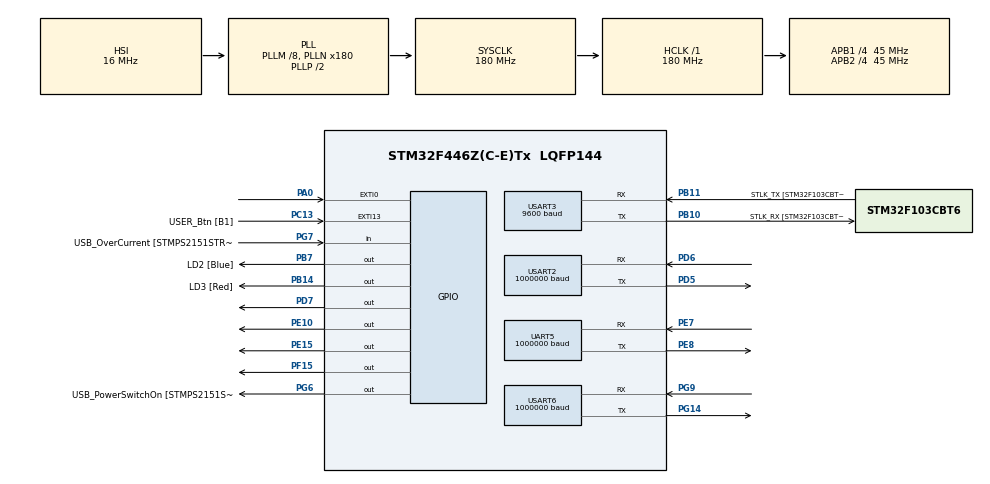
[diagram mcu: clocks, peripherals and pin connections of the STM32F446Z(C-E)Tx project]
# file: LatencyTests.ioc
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Mcu.Family=STM32F4
Mcu.Name=STM32F446Z(C-E)Tx
Mcu.Package=LQFP144
NVIC.PriorityGroup=NVIC_PRIORITYGROUP_4
NVIC.TIM1_UP_TIM10_IRQn=true\:0\:0\:false\:false\:true
NVIC.UART5_IRQn=true\:0\:0\:false\:false\:true
NVIC.USART2_IRQn=true\:0\:0\:false\:true\:true\:1
NVIC.USART3_IRQn=true\:0\:0\:false\:false\:true
NVIC.USART6_IRQn=true\:0\:0\:false\:true\:true\:2
PA0-WKUP.Signal=GPXTI0
PA10.GPIO_Label=USB_ID
PA10.Signal=USB_OTG_FS_ID
PA11.GPIO_Label=USB_DM
PA11.Signal=USB_OTG_FS_DM
PA12.GPIO_Label=USB_DP
PA12.Signal=USB_OTG_FS_DP
PA13.GPIO_Label=TMS
PA13.Signal=SYS_JTMS-SWDIO
PA14.GPIO_Label=TCK
PA14.Signal=SYS_JTCK-SWCLK
PA8.GPIO_Label=USB_SOF [TP1]
PA8.Signal=USB_OTG_FS_SOF
PA9.GPIO_Label=USB_VBUS
PA9.Signal=USB_OTG_FS_VBUS
PB10.GPIO_Label=STLK_RX [STM32F103CBT6_PA3]
PB10.Mode=Asynchronous
PB10.Signal=USART3_TX
PB11.GPIO_Label=STLK_TX [STM32F103CBT6_PA2]
PB11.Mode=Asynchronous
PB11.Signal=USART3_RX
PB14.GPIO_Label=LD3 [Red]
PB14.Signal=GPIO_Output
PB7.GPIO_Label=LD2 [Blue]
PB7.Signal=GPIO_Output
PC13.GPIO_Label=USER_Btn [B1]
PC13.Signal=GPXTI13
PC14-OSC32_IN.Signal=RCC_OSC32_IN
PC15-OSC32_OUT.Signal=RCC_OSC32_OUT
PD5.Mode=Asynchronous
PD5.Signal=USART2_TX
PD6.Mode=Asynchronous
PD6.Signal=USART2_RX
PD7.GPIO_Speed=GPIO_SPEED_FREQ_VERY_HIGH
PD7.PinState=GPIO_PIN_SET
PD7.Signal=GPIO_Output
PE10.GPIO_Speed=GPIO_SPEED_FREQ_VERY_HIGH
PE10.PinState=GPIO_PIN_SET
PE10.Signal=GPIO_Output
PE15.GPIO_Speed=GPIO_SPEED_FREQ_VERY_HIGH
PE15.PinState=GPIO_PIN_SET
PE15.Signal=GPIO_Output
PE7.Mode=Asynchronous
PE7.Signal=UART5_RX
PE8.Mode=Asynchronous
PE8.Signal=UART5_TX
PF15.GPIO_Speed=GPIO_SPEED_FREQ_VERY_HIGH
PF15.PinState=GPIO_PIN_SET
PF15.Signal=GPIO_Output
PG14.Mode=Asynchronous
PG14.Signal=USART6_TX
PG6.GPIO_Label=USB_PowerSwitchOn [STMPS2151STR_EN]
PG6.Signal=GPIO_Output
PG7.GPIO_Label=USB_OverCurrent [STMPS2151STR_FAULT]
PG7.Signal=GPIO_Input
PG9.Mode=Asynchronous
PG9.Signal=USART6_RX
PH0-OSC_IN.GPIO_Label=MCO [STM32F103CBT6_PA8]
PH0-OSC_IN.Signal=RCC_OSC_IN
PH1-OSC_OUT.Signal=RCC_OSC_OUT
ProjectManager.HeapSize=0x200
ProjectManager.StackSize=0x400
ProjectManager.TargetToolchain=SW4STM32
RCC.48MHZClocksFreq_Value=24000000
RCC.AHBFreq_Value=180000000
RCC.APB1CLKDivider=RCC_HCLK_DIV4
RCC.APB1Freq_Value=45000000
RCC.APB1TimFreq_Value=90000000
RCC.APB2CLKDivider=RCC_HCLK_DIV4
RCC.APB2Freq_Value=45000000
RCC.APB2TimFreq_Value=90000000
RCC.CortexFreq_Value=180000000
RCC.HCLKFreq_Value=180000000
RCC.HSE_VALUE=8000000
RCC.HSI_VALUE=16000000
RCC.LSE_VALUE=32768
RCC.PLLM=8
RCC.PLLMUL=RCC_PLL_MUL9
RCC.PLLN=180
RCC.PRESCALERUSB=RCC_USBCLKSOURCE_PLL_DIV1_5
RCC.SYSCLKFreq_VALUE=180000000
RCC.SYSCLKSource=RCC_SYSCLKSOURCE_PLLCLK
RCC.SYSCLKSourceVirtual=RCC_SYSCLKSOURCE_PLLCLK
RCC.USBFreq_Value=180000000
RCC.VCOOutputFreq_Value=360000000
TIM10.Period=9999
TIM10.Prescaler=90
UART5.BaudRate=1000000
UART5.VirtualMode=Asynchronous
USART2.BaudRate=1000000
USART2.VirtualMode=VM_ASYNC
USART3.BaudRate=9600
USART3.VirtualMode=VM_ASYNC
USART6.BaudRate=1000000
USART6.VirtualMode=VM_ASYNC
VP_TIM10_VS_ClockSourceINT.Mode=Enable_Timer
board=NUCLEO-F446ZE

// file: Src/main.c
/**
  ******************************************************************************
  * File Name          : main.c
  * Description        : Main program body
  ******************************************************************************
  ** This notice applies to any and all portions of this file
  * that are not between comment pairs USER CODE BEGIN and
  * USER CODE END. Other portions of this file, whether
  * inserted by the user or by software development tools
  * are owned by their respective copyright owners.
  *
  * COPYRIGHT(c) 2017 STMicroelectronics
  *
  * Redistribution and use in source and binary forms, with or without modification,
  * are permitted provided that the following conditions are met:
  *   1. Redistributions of source code must retain the above copyright notice,
  *      this list of conditions and the following disclaimer.
  *   2. Redistributions in binary form must reproduce the above copyright notice,
  *      this list of conditions and the following disclaimer in the documentation
  *      and/or other materials provided with the distribution.
  *   3. Neither the name of STMicroelectronics nor the names of its contributors
  *      may be used to endorse or promote products derived from this software
  *      without specific prior written permission.
  *
  * THIS SOFTWARE IS PROVIDED BY THE COPYRIGHT HOLDERS AND CONTRIBUTORS "AS IS"
  * AND ANY EXPRESS OR IMPLIED WARRANTIES, INCLUDING, BUT NOT LIMITED TO, THE
  * IMPLIED WARRANTIES OF MERCHANTABILITY AND FITNESS FOR A PARTICULAR PURPOSE ARE
  * DISCLAIMED. IN NO EVENT SHALL THE COPYRIGHT HOLDER OR CONTRIBUTORS BE LIABLE
  * FOR ANY DIRECT, INDIRECT, INCIDENTAL, SPECIAL, EXEMPLARY, OR CONSEQUENTIAL
  * DAMAGES (INCLUDING, BUT NOT LIMITED TO, PROCUREMENT OF SUBSTITUTE GOODS OR
  * SERVICES; LOSS OF USE, DATA, OR PROFITS; OR BUSINESS INTERRUPTION) HOWEVER
  * CAUSED AND ON ANY THEORY OF LIABILITY, WHETHER IN CONTRACT, STRICT LIABILITY,
  * OR TORT (INCLUDING NEGLIGENCE OR OTHERWISE) ARISING IN ANY WAY OUT OF THE USE
  * OF THIS SOFTWARE, EVEN IF ADVISED OF THE POSSIBILITY OF SUCH DAMAGE.
  *
  ******************************************************************************
  */
#include "main.h"
#include "stm32f4xx_hal.h"

/* USER CODE BEGIN Includes */
/* Motor driver. */
#include "../../../Dynamixel_AX-12A_Driver/src/Dynamixel_AX-12A.h"
#include "../../../Dynamixel_AX-12A_Driver/src/Dynamixel_AX-12A.c"

/* Simulink. */
#include <stddef.h>
#include <stdio.h>                     			/* This ert_main.c example uses printf/fflush */
#include "simplepid_ert_rtw/simplepid.h"        /* Model's header file */
#include "simplepid_ert_rtw/rtwtypes.h"
/* USER CODE END Includes */

TIM_HandleTypeDef htim10;

UART_HandleTypeDef huart5;
UART_HandleTypeDef huart2;
UART_HandleTypeDef huart3;
UART_HandleTypeDef huart6;

/* USER CODE BEGIN PV */
/* Private variables ---------------------------------------------------------*/
uint8_t buffrec[7];

Dynamixel_HandleTypeDef Motor1;
Dynamixel_HandleTypeDef Motor2;
Dynamixel_HandleTypeDef Motor3;
Dynamixel_HandleTypeDef Motor4;
Dynamixel_HandleTypeDef Motor5;
Dynamixel_HandleTypeDef Motor6;
Dynamixel_HandleTypeDef Motor7;
Dynamixel_HandleTypeDef Motor8;
Dynamixel_HandleTypeDef Motor9;
Dynamixel_HandleTypeDef Motor10;
Dynamixel_HandleTypeDef Motor11;
Dynamixel_HandleTypeDef Motor12;

volatile double lastTorque;
volatile uint8_t firstEntry = 1;
/* USER CODE END PV */

void SystemClock_Config(void);
static void MX_GPIO_Init(void);
static void MX_USART3_UART_Init(void);
static void MX_USART2_UART_Init(void);
static void MX_USART6_UART_Init(void);
static void MX_UART5_Init(void);
static void MX_TIM10_Init(void);
static void MX_NVIC_Init(void);

/* USER CODE BEGIN PFP */
/* Private function prototypes -----------------------------------------------*/
void rt_OneStepWheelMode(void);
void rt_OneStepJointMode(void);
/* USER CODE END PFP */

int main(void)
{

  /* MCU Configuration----------------------------------------------------------*/

  /* Reset of all peripherals, Initializes the Flash interface and the Systick. */
  HAL_Init();

  /* Configure the system clock */
  SystemClock_Config();

  /* Initialize all configured peripherals */
  MX_GPIO_Init();
  MX_USART3_UART_Init();
  MX_USART2_UART_Init();
  MX_USART6_UART_Init();
  MX_UART5_Init();
  MX_TIM10_Init();

  /* Initialize interrupts */
  MX_NVIC_Init();

  /* USER CODE BEGIN 2 */
  	/* UART2 --> Motors: 1, 2, 3	|	Data Direction Pin: D7. */
	Dynamixel_Init(&Motor1, 1, &huart2, GPIOD, GPIO_PIN_7);
	Dynamixel_Init(&Motor2, 2, &huart2, GPIOD, GPIO_PIN_7);
	Dynamixel_Init(&Motor3, 3, &huart2, GPIOD, GPIO_PIN_7);

	/* UART3 --> Motors: 4, 5, 6	|	Data Direction Pin: E15. */
	Dynamixel_Init(&Motor4, 4, &huart3, GPIOE, GPIO_PIN_15);
	Dynamixel_Init(&Motor5, 5, &huart3, GPIOE, GPIO_PIN_15);
	Dynamixel_Init(&Motor6, 6, &huart3, GPIOE, GPIO_PIN_15);

	/* UART5 --> Motors: 7, 8, 9	|	Data Direction Pin: E10. */
	Dynamixel_Init(&Motor7, 7, &huart5, GPIOE, GPIO_PIN_10);
	Dynamixel_Init(&Motor8, 8, &huart5, GPIOE, GPIO_PIN_10);
	Dynamixel_Init(&Motor9, 9, &huart5, GPIOE, GPIO_PIN_10);

	/* UART6 --> Motors: 10, 11, 12	|	Data Direction Pin: F15. */
	Dynamixel_Init(&Motor10, 10, &huart6, GPIOF, GPIO_PIN_15);
	Dynamixel_Init(&Motor11, 11, &huart6, GPIOF, GPIO_PIN_15);
	Dynamixel_Init(&Motor12, 12, &huart6, GPIOF, GPIO_PIN_15);

	Dynamixel_HandleTypeDef* arrDynamixel[12];
	arrDynamixel[0] = &Motor1;
	arrDynamixel[1] = &Motor2;
	arrDynamixel[2] = &Motor3;
	arrDynamixel[3] = &Motor4;
	arrDynamixel[4] = &Motor5;
	arrDynamixel[5] = &Motor6;
	arrDynamixel[6] = &Motor7;
	arrDynamixel[7] = &Motor8;
	arrDynamixel[8] = &Motor9;
	arrDynamixel[9] = &Motor10;
	arrDynamixel[10] = &Motor11;
	arrDynamixel[11] = &Motor12;

	HAL_Delay(100); // Just in case

	//Dynamixel_EnterWheelMode(&Motor10, 100);
	Dynamixel_EnterJointMode(&Motor10);
	Dynamixel_SetGoalVelocity(&Motor10, MAX_VELOCITY);

	HAL_TIM_Base_Start_IT(&htim10); // Starts the Timer-based interrupt generation

	/* Initialize model */
	simplepid_initialize();
  /* USER CODE END 2 */

  /* Infinite loop */
  while (1)
  {

  /* USER CODE BEGIN 3 */
//	  uint8_t uartNumber = 2;
//	  uint8_t L = 2;
//	  uint8_t numMotors = 4;
//
//	  uint8_t arrSW[8];
//	  arrSW[0] = REG_GOAL_POSITION;
//	  arrSW[1] = L;
//	  arrSW[2] = 1; // MOTOR1
//	  arrSW[3] = 0;
//	  arrSW[4] = 2;
//	  arrSW[5] = 2; // MOTOR2
//	  arrSW[6] = 0;
//	  arrSW[7] = 2;
//	  arrSW[8] = 3; // MOTOR3
//	  arrSW[9] = 0;
//	  arrSW[10] = 2;
//	  arrSW[11] = 4; // MOTOR4
//	  arrSW[12] = 0;
//	  arrSW[13] = 2;
//
//	  Dynamixel_SyncWriter(&Motor1, uartNumber, numMotors, arrSW);
  }
  /* USER CODE END 3 */

}

/** System Clock Configuration
*/
void SystemClock_Config(void)
{

  RCC_OscInitTypeDef RCC_OscInitStruct;
  RCC_ClkInitTypeDef RCC_ClkInitStruct;

    /**Configure the main internal regulator output voltage
    */
  __HAL_RCC_PWR_CLK_ENABLE();

  __HAL_PWR_VOLTAGESCALING_CONFIG(PWR_REGULATOR_VOLTAGE_SCALE1);

    /**Initializes the CPU, AHB and APB busses clocks
    */
  RCC_OscInitStruct.OscillatorType = RCC_OSCILLATORTYPE_HSI;
  RCC_OscInitStruct.HSIState = RCC_HSI_ON;
  RCC_OscInitStruct.HSICalibrationValue = 16;
  RCC_OscInitStruct.PLL.PLLState = RCC_PLL_ON;
  RCC_OscInitStruct.PLL.PLLSource = RCC_PLLSOURCE_HSI;
  RCC_OscInitStruct.PLL.PLLM = 8;
  RCC_OscInitStruct.PLL.PLLN = 180;
  RCC_OscInitStruct.PLL.PLLP = RCC_PLLP_DIV2;
  RCC_OscInitStruct.PLL.PLLQ = 2;
  RCC_OscInitStruct.PLL.PLLR = 2;
  if (HAL_RCC_OscConfig(&RCC_OscInitStruct) != HAL_OK)
  {
    _Error_Handler(__FILE__, __LINE__);
  }

    /**Activate the Over-Drive mode
    */
  if (HAL_PWREx_EnableOverDrive() != HAL_OK)
  {
    _Error_Handler(__FILE__, __LINE__);
  }

    /**Initializes the CPU, AHB and APB busses clocks
    */
  RCC_ClkInitStruct.ClockType = RCC_CLOCKTYPE_HCLK|RCC_CLOCKTYPE_SYSCLK
                              |RCC_CLOCKTYPE_PCLK1|RCC_CLOCKTYPE_PCLK2;
  RCC_ClkInitStruct.SYSCLKSource = RCC_SYSCLKSOURCE_PLLCLK;
  RCC_ClkInitStruct.AHBCLKDivider = RCC_SYSCLK_DIV1;
  RCC_ClkInitStruct.APB1CLKDivider = RCC_HCLK_DIV4;
  RCC_ClkInitStruct.APB2CLKDivider = RCC_HCLK_DIV4;

  if (HAL_RCC_ClockConfig(&RCC_ClkInitStruct, FLASH_LATENCY_5) != HAL_OK)
  {
    _Error_Handler(__FILE__, __LINE__);
  }

    /**Configure the Systick interrupt time
    */
  HAL_SYSTICK_Config(HAL_RCC_GetHCLKFreq()/1000);

    /**Configure the Systick
    */
  HAL_SYSTICK_CLKSourceConfig(SYSTICK_CLKSOURCE_HCLK);

  /* SysTick_IRQn interrupt configuration */
  HAL_NVIC_SetPriority(SysTick_IRQn, 0, 0);
}

/** NVIC Configuration
*/
static void MX_NVIC_Init(void)
{
  /* USART2_IRQn interrupt configuration */
  HAL_NVIC_SetPriority(USART2_IRQn, 0, 0);
  HAL_NVIC_EnableIRQ(USART2_IRQn);
  /* USART6_IRQn interrupt configuration */
  HAL_NVIC_SetPriority(USART6_IRQn, 0, 0);
  HAL_NVIC_EnableIRQ(USART6_IRQn);
}

/* TIM10 init function */
static void MX_TIM10_Init(void)
{

  htim10.Instance = TIM10;
  htim10.Init.Prescaler = 90;
  htim10.Init.CounterMode = TIM_COUNTERMODE_UP;
  htim10.Init.Period = 9999;
  htim10.Init.ClockDivision = TIM_CLOCKDIVISION_DIV1;
  if (HAL_TIM_Base_Init(&htim10) != HAL_OK)
  {
    _Error_Handler(__FILE__, __LINE__);
  }

}

/* UART5 init function */
static void MX_UART5_Init(void)
{

  huart5.Instance = UART5;
  huart5.Init.BaudRate = 1000000;
  huart5.Init.WordLength = UART_WORDLENGTH_8B;
  huart5.Init.StopBits = UART_STOPBITS_1;
  huart5.Init.Parity = UART_PARITY_NONE;
  huart5.Init.Mode = UART_MODE_TX_RX;
  huart5.Init.HwFlowCtl = UART_HWCONTROL_NONE;
  huart5.Init.OverSampling = UART_OVERSAMPLING_16;
  if (HAL_UART_Init(&huart5) != HAL_OK)
  {
    _Error_Handler(__FILE__, __LINE__);
  }

}

/* USART2 init function */
static void MX_USART2_UART_Init(void)
{

  huart2.Instance = USART2;
  huart2.Init.BaudRate = 1000000;
  huart2.Init.WordLength = UART_WORDLENGTH_8B;
  huart2.Init.StopBits = UART_STOPBITS_1;
  huart2.Init.Parity = UART_PARITY_NONE;
  huart2.Init.Mode = UART_MODE_TX_RX;
  huart2.Init.HwFlowCtl = UART_HWCONTROL_NONE;
  huart2.Init.OverSampling = UART_OVERSAMPLING_16;
  if (HAL_UART_Init(&huart2) != HAL_OK)
  {
    _Error_Handler(__FILE__, __LINE__);
  }

}

/* USART3 init function */
static void MX_USART3_UART_Init(void)
{

  huart3.Instance = USART3;
  huart3.Init.BaudRate = 9600;
  huart3.Init.WordLength = UART_WORDLENGTH_8B;
  huart3.Init.StopBits = UART_STOPBITS_1;
  huart3.Init.Parity = UART_PARITY_NONE;
  huart3.Init.Mode = UART_MODE_TX_RX;
  huart3.Init.HwFlowCtl = UART_HWCONTROL_NONE;
  huart3.Init.OverSampling = UART_OVERSAMPLING_16;
  if (HAL_UART_Init(&huart3) != HAL_OK)
  {
    _Error_Handler(__FILE__, __LINE__);
  }

}

/* USART6 init function */
static void MX_USART6_UART_Init(void)
{

  huart6.Instance = USART6;
  huart6.Init.BaudRate = 1000000;
  huart6.Init.WordLength = UART_WORDLENGTH_8B;
  huart6.Init.StopBits = UART_STOPBITS_1;
  huart6.Init.Parity = UART_PARITY_NONE;
  huart6.Init.Mode = UART_MODE_TX_RX;
  huart6.Init.HwFlowCtl = UART_HWCONTROL_NONE;
  huart6.Init.OverSampling = UART_OVERSAMPLING_16;
  if (HAL_UART_Init(&huart6) != HAL_OK)
  {
    _Error_Handler(__FILE__, __LINE__);
  }

}

/** Configure pins as
        * Analog
        * Input
        * Output
        * EVENT_OUT
        * EXTI
     PA8   ------> USB_OTG_FS_SOF
     PA9   ------> USB_OTG_FS_VBUS
     PA10   ------> USB_OTG_FS_ID
     PA11   ------> USB_OTG_FS_DM
     PA12   ------> USB_OTG_FS_DP
*/
static void MX_GPIO_Init(void)
{

  GPIO_InitTypeDef GPIO_InitStruct;

  /* GPIO Ports Clock Enable */
  __HAL_RCC_GPIOC_CLK_ENABLE();
  __HAL_RCC_GPIOH_CLK_ENABLE();
  __HAL_RCC_GPIOA_CLK_ENABLE();
  __HAL_RCC_GPIOF_CLK_ENABLE();
  __HAL_RCC_GPIOE_CLK_ENABLE();
  __HAL_RCC_GPIOB_CLK_ENABLE();
  __HAL_RCC_GPIOG_CLK_ENABLE();
  __HAL_RCC_GPIOD_CLK_ENABLE();

  /*Configure GPIO pin Output Level */
  HAL_GPIO_WritePin(GPIOF, GPIO_PIN_15, GPIO_PIN_SET);

  /*Configure GPIO pin Output Level */
  HAL_GPIO_WritePin(GPIOE, GPIO_PIN_10|GPIO_PIN_15, GPIO_PIN_SET);

  /*Configure GPIO pin Output Level */
  HAL_GPIO_WritePin(GPIOB, LD3_Pin|LD2_Pin, GPIO_PIN_RESET);

  /*Configure GPIO pin Output Level */
  HAL_GPIO_WritePin(USB_PowerSwitchOn_GPIO_Port, USB_PowerSwitchOn_Pin, GPIO_PIN_RESET);

  /*Configure GPIO pin Output Level */
  HAL_GPIO_WritePin(GPIOD, GPIO_PIN_7, GPIO_PIN_SET);

  /*Configure GPIO pin : USER_Btn_Pin */
  GPIO_InitStruct.Pin = USER_Btn_Pin;
  GPIO_InitStruct.Mode = GPIO_MODE_IT_RISING;
  GPIO_InitStruct.Pull = GPIO_NOPULL;
  HAL_GPIO_Init(USER_Btn_GPIO_Port, &GPIO_InitStruct);

  /*Configure GPIO pin : PA0 */
  GPIO_InitStruct.Pin = GPIO_PIN_0;
  GPIO_InitStruct.Mode = GPIO_MODE_IT_RISING;
  GPIO_InitStruct.Pull = GPIO_NOPULL;
  HAL_GPIO_Init(GPIOA, &GPIO_InitStruct);

  /*Configure GPIO pin : PF15 */
  GPIO_InitStruct.Pin = GPIO_PIN_15;
  GPIO_InitStruct.Mode = GPIO_MODE_OUTPUT_PP;
  GPIO_InitStruct.Pull = GPIO_NOPULL;
  GPIO_InitStruct.Speed = GPIO_SPEED_FREQ_VERY_HIGH;
  HAL_GPIO_Init(GPIOF, &GPIO_InitStruct);

  /*Configure GPIO pins : PE10 PE15 */
  GPIO_InitStruct.Pin = GPIO_PIN_10|GPIO_PIN_15;
  GPIO_InitStruct.Mode = GPIO_MODE_OUTPUT_PP;
  GPIO_InitStruct.Pull = GPIO_NOPULL;
  GPIO_InitStruct.Speed = GPIO_SPEED_FREQ_VERY_HIGH;
  HAL_GPIO_Init(GPIOE, &GPIO_InitStruct);

  /*Configure GPIO pins : LD3_Pin LD2_Pin */
  GPIO_InitStruct.Pin = LD3_Pin|LD2_Pin;
  GPIO_InitStruct.Mode = GPIO_MODE_OUTPUT_PP;
  GPIO_InitStruct.Pull = GPIO_NOPULL;
  GPIO_InitStruct.Speed = GPIO_SPEED_FREQ_LOW;
  HAL_GPIO_Init(GPIOB, &GPIO_InitStruct);

  /*Configure GPIO pin : USB_PowerSwitchOn_Pin */
  GPIO_InitStruct.Pin = USB_PowerSwitchOn_Pin;
  GPIO_InitStruct.Mode = GPIO_MODE_OUTPUT_PP;
  GPIO_InitStruct.Pull = GPIO_NOPULL;
  GPIO_InitStruct.Speed = GPIO_SPEED_FREQ_LOW;
  HAL_GPIO_Init(USB_PowerSwitchOn_GPIO_Port, &GPIO_InitStruct);

  /*Configure GPIO pin : USB_OverCurrent_Pin */
  GPIO_InitStruct.Pin = USB_OverCurrent_Pin;
  GPIO_InitStruct.Mode = GPIO_MODE_INPUT;
  GPIO_InitStruct.Pull = GPIO_NOPULL;
  HAL_GPIO_Init(USB_OverCurrent_GPIO_Port, &GPIO_InitStruct);

  /*Configure GPIO pins : USB_SOF_Pin USB_ID_Pin USB_DM_Pin USB_DP_Pin */
  GPIO_InitStruct.Pin = USB_SOF_Pin|USB_ID_Pin|USB_DM_Pin|USB_DP_Pin;
  GPIO_InitStruct.Mode = GPIO_MODE_AF_PP;
  GPIO_InitStruct.Pull = GPIO_NOPULL;
  GPIO_InitStruct.Speed = GPIO_SPEED_FREQ_VERY_HIGH;
  GPIO_InitStruct.Alternate = GPIO_AF10_OTG_FS;
  HAL_GPIO_Init(GPIOA, &GPIO_InitStruct);

  /*Configure GPIO pin : USB_VBUS_Pin */
  GPIO_InitStruct.Pin = USB_VBUS_Pin;
  GPIO_InitStruct.Mode = GPIO_MODE_INPUT;
  GPIO_InitStruct.Pull = GPIO_NOPULL;
  HAL_GPIO_Init(USB_VBUS_GPIO_Port, &GPIO_InitStruct);

  /*Configure GPIO pin : PD7 */
  GPIO_InitStruct.Pin = GPIO_PIN_7;
  GPIO_InitStruct.Mode = GPIO_MODE_OUTPUT_PP;
  GPIO_InitStruct.Pull = GPIO_NOPULL;
  GPIO_InitStruct.Speed = GPIO_SPEED_FREQ_VERY_HIGH;
  HAL_GPIO_Init(GPIOD, &GPIO_InitStruct);

}

/* USER CODE BEGIN 4 */
void rt_OneStepWheelMode(void){
  static boolean_T OverrunFlag = false;

  /* '<Root>/Position' */
  static real_T arg_Position = 0.0;

  /* '<Root>/Torque' */
  static real_T arg_Torque;

  /* Disable interrupts here */

  /* Check for overrun */
  if (OverrunFlag) {
    return;
  }

  OverrunFlag = true;

  /* Save FPU context here (if necessary) */
  /* Re-enable timer or interrupt here */
  /* Set model inputs here */
  Dynamixel_GetPosition(&Motor10);
  arg_Position = (double)(Motor10._lastPosition - 150) / 100;

  /* Step the model */
  simplepid_step(arg_Position, &arg_Torque);

  /* Get model outputs here */
  if(firstEntry == 0){
	  if((lastTorque > 0) != (arg_Torque > 0)){
		  HAL_GPIO_TogglePin(GPIOB, GPIO_PIN_7); // Toggle LED
		  if(arg_Torque < 0){
			  Dynamixel_SetGoalVelocity(&Motor10, -MAX_VELOCITY);
		  }
		  else{
			  Dynamixel_SetGoalVelocity(&Motor10, MAX_VELOCITY);
		  }
		  lastTorque = arg_Torque;
  	  }
  }
  else{
	  if(arg_Torque < 0){
		  Dynamixel_SetGoalVelocity(&Motor10, -MAX_VELOCITY);
	  }
	  else{
		  Dynamixel_SetGoalVelocity(&Motor10, MAX_VELOCITY);
	  }
	  firstEntry = 0;
	  lastTorque = arg_Torque;
  }
  if(arg_Torque < 0){
	  arg_Torque *= -1;
  }
  arg_Torque = (arg_Torque > MAX_TORQUE) ? MAX_TORQUE : arg_Torque;
  Dynamixel_SetGoalTorque(&Motor10, arg_Torque);

  /* Indicate task complete */
  OverrunFlag = false;

  /* Disable interrupts here */
  /* Restore FPU context here (if necessary) */
  /* Enable interrupts here */
}

void rt_OneStepJointMode(void){
  static boolean_T OverrunFlag = false;

  /* '<Root>/Position' */
  static real_T arg_Position = 0.0;

  /* '<Root>/Torque' */
  static real_T arg_Torque;

  /* Disable interrupts here */

  /* Check for overrun */
  if (OverrunFlag) {
    return;
  }

  OverrunFlag = true;

  /* Save FPU context here (if necessary) */
  /* Re-enable timer or interrupt here */
  /* Set model inputs here */
  Dynamixel_GetPosition(&Motor10);
  arg_Position = (double)(Motor10._lastPosition - 150) / 100;

  /* Step the model */
  simplepid_step(arg_Position, &arg_Torque);

  /* Get model outputs here */
  if(firstEntry == 0){
	  if((lastTorque > 0) != (arg_Torque > 0)){
		  HAL_GPIO_WritePin(GPIOB, GPIO_PIN_7, 1); // Toggle LED
		  if(arg_Torque < 0){
			  Dynamixel_SetGoalPosition(&Motor10, MIN_ANGLE);
		  }
		  else{
			  Dynamixel_SetGoalPosition(&Motor10, MAX_ANGLE);
		  }
		  lastTorque = arg_Torque;
  	  }
  }
  else{
	  if(arg_Torque < 0){
		  Dynamixel_SetGoalPosition(&Motor10, MIN_ANGLE);
	  }
	  else{
		  Dynamixel_SetGoalPosition(&Motor10, MAX_ANGLE);
	  }
	  firstEntry = 0;
	  lastTorque = arg_Torque;
  }
  if(arg_Torque < 0){
	  arg_Torque *= -1;
  }
  arg_Torque = (arg_Torque > MAX_TORQUE) ? MAX_TORQUE : arg_Torque;
  Dynamixel_SetGoalTorque(&Motor10, arg_Torque);

  /* Indicate task complete */
  OverrunFlag = false;

  /* Disable interrupts here */
  /* Restore FPU context here (if necessary) */
  /* Enable interrupts here */
}

void HAL_TIM_PeriodElapsedCallback(TIM_HandleTypeDef * htim){
	if(htim->Instance == TIM10){
		//rt_OneStepWheelMode();
		rt_OneStepJointMode();
	}
}

/* USER CODE END 4 */

void _Error_Handler(char * file, int line)
{
  while(1)
  {
  }
}

/************************ (C) COPYRIGHT STMicroelectronics *****END OF FILE****/
